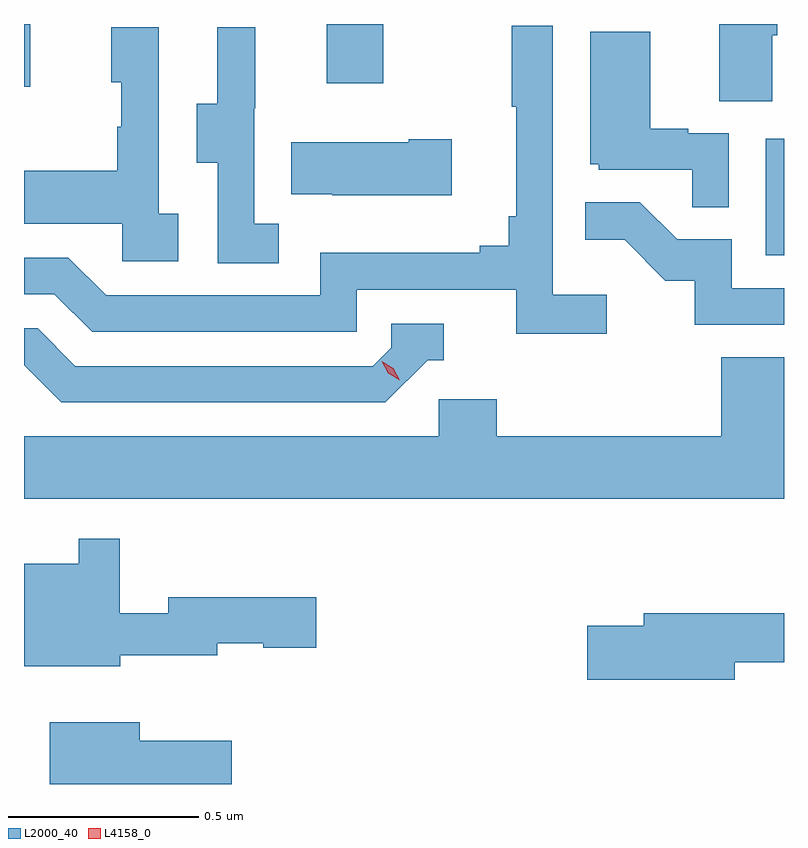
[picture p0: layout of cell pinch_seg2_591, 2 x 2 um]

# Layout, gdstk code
import gdstk
lib = gdstk.Library(unit=1e-6, precision=1e-09)
def R(c, l, rs):  # rectangles x0, y0, x1, y1
    for r in rs: c.add(gdstk.rectangle(r[:2], r[2:], *l))
def P(c, l, *ps):  # polygons
    for p in ps: c.add(gdstk.Polygon(p, *l))
L2000_40 = (2000, 40)
L4158_0 = (4158, 0)

pinch_seg2_591 = lib.new_cell('pinch_seg2_591')
R(pinch_seg2_591, L2000_40, [(1119.296,621.636,1119.344,621.943), (1117.344,622.08,1117.361,622.245), (1118.141,622.089,1118.289,622.245)])
P(pinch_seg2_591, L2000_40, [(1119.313,622.216),(1119.326,622.216),(1119.326,622.245),(1119.173,622.245),(1119.173,622.042),(1119.313,622.042)],
  [(1118.878,621.532),(1118.736,621.532),(1118.736,622.24),(1118.628,622.24),(1118.628,622.027),(1118.639,622.027),(1118.639,621.739),(1118.62,621.739),(1118.62,621.662),(1118.543,621.662),(1118.543,621.643),(1118.124,621.643),(1118.124,621.531),(1117.56,621.531),(1117.461,621.63),(1117.344,621.63),(1117.344,621.534),(1117.424,621.534),(1117.523,621.435),(1118.22,621.435),(1118.22,621.546),(1118.639,621.546),(1118.639,621.43),(1118.878,621.43)],
  [(1117.75,621.746),(1117.698,621.746),(1117.698,622.237),(1117.574,622.237),(1117.574,622.092),(1117.6,622.092),(1117.6,621.974),(1117.59,621.974),(1117.59,621.859),(1117.344,621.859),(1117.344,621.719),(1117.602,621.719),(1117.602,621.621),(1117.75,621.621)],
  [(1118.014,621.719),(1117.95,621.719),(1117.95,622.023),(1117.952,622.023),(1117.952,622.237),(1117.853,622.237),(1117.853,622.035),(1117.799,622.035),(1117.799,621.88),(1117.854,621.88),(1117.854,621.616),(1118.014,621.616)],
  [(1119.198,621.957),(1119.092,621.957),(1119.092,621.97),(1118.992,621.97),(1118.992,622.225),(1118.834,622.225),(1118.834,621.876),(1118.856,621.876),(1118.856,621.861),(1119.103,621.861),(1119.103,621.763),(1119.198,621.763)],
  [(1118.47,621.942),(1118.357,621.942),(1118.357,621.934),(1118.047,621.934),(1118.047,621.797),(1118.155,621.797),(1118.155,621.794),(1118.47,621.794)],
  [(1119.344,621.549),(1119.207,621.549),(1119.207,621.678),(1119.063,621.678),(1118.965,621.776),(1118.821,621.776),(1118.821,621.677),(1118.925,621.677),(1119.032,621.57),(1119.109,621.57),(1119.109,621.453),(1119.344,621.453)],
  [(1118.406,621.36),(1118.449,621.36),(1118.449,621.456),(1118.31,621.456),(1118.31,621.393),(1118.262,621.345),(1117.479,621.345),(1117.38,621.444),(1117.344,621.444),(1117.344,621.347),(1117.442,621.249),(1118.295,621.249)],
  [(1119.344,621.368),(1119.179,621.368),(1119.179,621.16),(1118.588,621.16),(1118.588,621.258),(1118.436,621.258),(1118.436,621.16),(1117.344,621.16),(1117.344,620.996),(1119.344,620.996)],
  [(1117.597,620.584),(1117.852,620.584),(1117.852,620.615),(1117.974,620.615),(1117.974,620.603),(1118.113,620.603),(1118.113,620.737),(1117.724,620.737),(1117.724,620.695),(1117.596,620.695),(1117.596,620.89),(1117.488,620.89),(1117.488,620.824),(1117.344,620.824),(1117.344,620.555),(1117.597,620.555)],
  [(1119.214,620.566),(1119.344,620.566),(1119.344,620.695),(1118.975,620.695),(1118.975,620.661),(1118.826,620.661),(1118.826,620.519),(1119.214,620.519)],
  [(1117.891,620.359),(1117.648,620.359),(1117.648,620.407),(1117.412,620.407),(1117.412,620.245),(1117.891,620.245)])
P(pinch_seg2_591, L4158_0, [(1118.333,621.307),(1118.302,621.326),(1118.285,621.358),(1118.285,621.358),(1118.285,621.358),(1118.316,621.339),(1118.333,621.307),(1118.333,621.307)])

lib.write_gds('pinch_seg2_591.gds')
